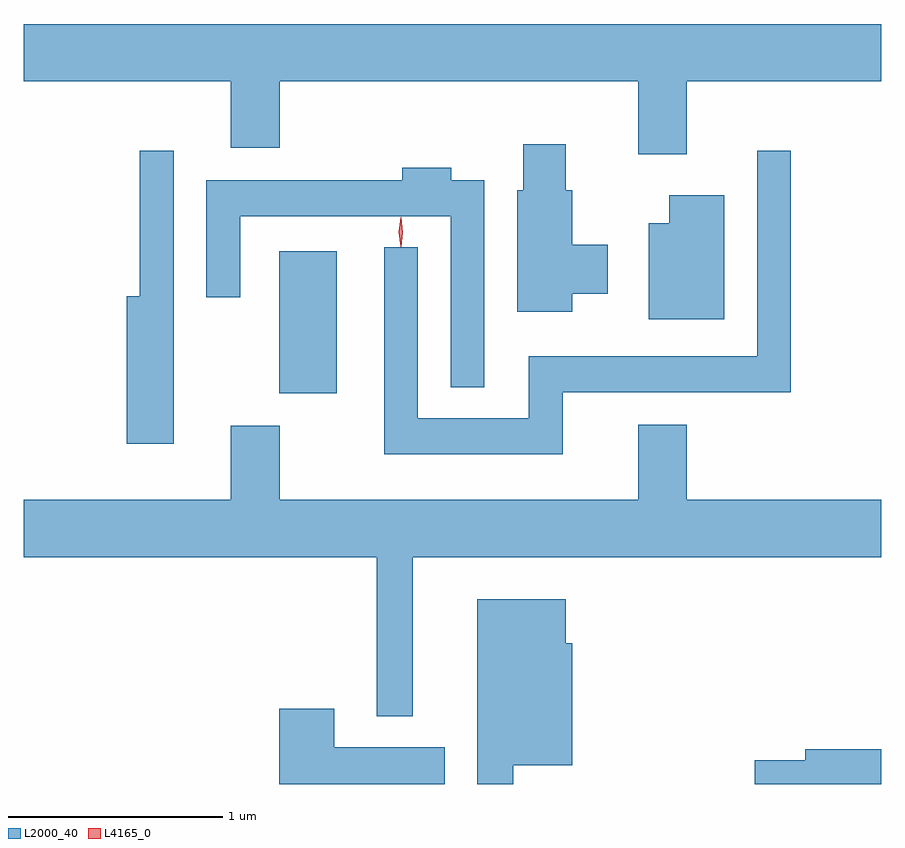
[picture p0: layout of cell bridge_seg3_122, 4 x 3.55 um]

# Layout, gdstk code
import gdstk
lib = gdstk.Library(unit=1e-6, precision=1e-09)
def R(c, l, rs):  # rectangles x0, y0, x1, y1
    for r in rs: c.add(gdstk.rectangle(r[:2], r[2:], *l))
def P(c, l, *ps):  # polygons
    for p in ps: c.add(gdstk.Polygon(p, *l))
L2000_40 = (2000, 40)
L4165_0 = (4165, 0)

bridge_seg3_122 = lib.new_cell('bridge_seg3_122')
R(bridge_seg3_122, L2000_40, [(889.406,1231.121,889.674,1231.784)])
P(bridge_seg3_122, L2000_40, [(891.309,1232.576),(892.215,1232.576),(892.215,1232.844),(888.215,1232.844),(888.215,1232.576),(889.181,1232.576),(889.181,1232.266),(889.409,1232.266),(889.409,1232.576),(891.081,1232.576),(891.081,1232.236),(891.309,1232.236)],
  [(890.774,1231.586),(890.939,1231.586),(890.939,1231.814),(890.774,1231.814),(890.774,1232.069),(890.744,1232.069),(890.744,1232.284),(890.546,1232.284),(890.546,1232.069),(890.516,1232.069),(890.516,1231.501),(890.774,1231.501)],
  [(890.729,1231.126),(891.794,1231.126),(891.794,1232.253),(891.636,1232.253),(891.636,1231.294),(890.571,1231.294),(890.571,1231.004),(890.054,1231.004),(890.054,1231.803),(889.896,1231.803),(889.896,1230.836),(890.729,1230.836)],
  [(888.914,1232.253),(888.756,1232.253),(888.756,1231.574),(888.696,1231.574),(888.696,1230.886),(888.914,1230.886)],
  [(890.364,1232.114),(890.209,1232.114),(890.209,1232.174),(889.981,1232.174),(889.981,1232.114),(889.066,1232.114),(889.066,1231.568),(889.224,1231.568),(889.224,1231.946),(890.206,1231.946),(890.206,1231.148),(890.364,1231.148)],
  [(891.484,1232.044),(891.226,1232.044),(891.226,1231.914),(891.131,1231.914),(891.131,1231.466),(891.484,1231.466)],
  [(890.029,1230.356),(892.215,1230.356),(892.215,1230.624),(891.309,1230.624),(891.309,1230.974),(891.081,1230.974),(891.081,1230.624),(889.409,1230.624),(889.409,1230.969),(889.181,1230.969),(889.181,1230.624),(888.215,1230.624),(888.215,1230.356),(889.861,1230.356),(889.861,1229.613),(890.029,1229.613)],
  [(890.499,1229.386),(890.774,1229.386),(890.774,1229.954),(890.744,1229.954),(890.744,1230.159),(890.331,1230.159),(890.331,1229.298),(890.499,1229.298)],
  [(890.179,1229.469),(889.664,1229.469),(889.664,1229.649),(889.406,1229.649),(889.406,1229.298),(890.179,1229.298)],
  [(892.215,1229.459),(891.861,1229.459),(891.861,1229.409),(891.626,1229.409),(891.626,1229.298),(892.215,1229.298)])
P(bridge_seg3_122, L4165_0, [(889.974,1231.807),(889.974,1231.808),(889.964,1231.874),(889.973,1231.94),(889.974,1231.94),(889.974,1231.94),(889.984,1231.874),(889.974,1231.808)],
  [(889.974,1231.804),(889.974,1231.804),(889.964,1231.873),(889.974,1231.942),(889.974,1231.943),(889.975,1231.942),(889.984,1231.873),(889.975,1231.804)])

lib.write_gds('bridge_seg3_122.gds')
